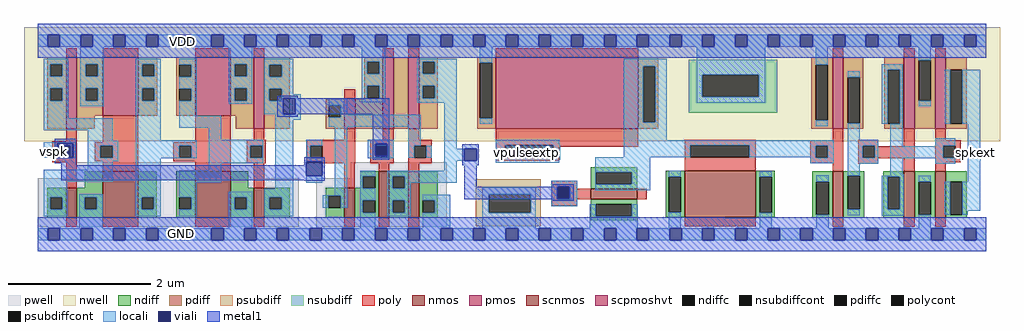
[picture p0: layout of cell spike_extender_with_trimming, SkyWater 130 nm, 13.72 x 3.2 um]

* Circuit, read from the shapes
.subckt spike_extender_with_trimming vpulseextp spkext GND VDD vspk
XM1 GND vspk n1 GND sky130_fd_pr__nfet_01v8 w=0.42 l=0.15
XM2 n2 n1 GND GND sky130_fd_pr__nfet_01v8 w=0.65 l=0.5
XM3 GND n2 n3 GND sky130_fd_pr__nfet_01v8 w=0.65 l=0.5
XM4 sky130_fd_sc_hd__nor2b_1_0/A n3 GND GND sky130_fd_pr__nfet_01v8 w=0.42 l=0.15
XM5 GND vspk n4 GND sky130_fd_pr__nfet_01v8 w=0.42 l=0.15
XM6 sky130_fd_sc_hd__nor2b_1_0/Y sky130_fd_sc_hd__nor2b_1_0/A GND GND sky130_fd_pr__nfet_01v8 w=0.65 l=0.15
XM7 GND n4 sky130_fd_sc_hd__nor2b_1_0/Y GND sky130_fd_pr__nfet_01v8 w=0.65 l=0.15
XM8 n5 sky130_fd_sc_hd__nor2b_1_0/Y GND GND sky130_fd_pr__nfet_01v8 w=0.65 l=0.15
XM9 GND n5 GND GND sky130_fd_pr__nfet_01v8 w=0.65 l=1
XM10 n6 n5 GND GND sky130_fd_pr__nfet_01v8 w=0.65 l=0.15
XM11 GND n6 n7 GND sky130_fd_pr__nfet_01v8 w=0.65 l=0.15
XM12 spkext n7 GND GND sky130_fd_pr__nfet_01v8 w=0.65 l=0.15
XM13 VDD vspk n1 VDD sky130_fd_pr__pfet_01v8_hvt w=1 l=0.15
XM14 n2 n1 VDD VDD sky130_fd_pr__pfet_01v8_hvt w=0.82 l=0.5
XM15 VDD n2 n3 VDD sky130_fd_pr__pfet_01v8_hvt w=0.82 l=0.5
XM16 sky130_fd_sc_hd__nor2b_1_0/A n3 VDD VDD sky130_fd_pr__pfet_01v8_hvt w=1 l=0.15
XM17 VDD vspk n4 VDD sky130_fd_pr__pfet_01v8_hvt w=0.42 l=0.15
XM18 n8 sky130_fd_sc_hd__nor2b_1_0/A VDD VDD sky130_fd_pr__pfet_01v8_hvt w=1 l=0.15
XM19 sky130_fd_sc_hd__nor2b_1_0/Y n4 n8 VDD sky130_fd_pr__pfet_01v8_hvt w=1 l=0.15
XM20 n5 vpulseextp VDD VDD sky130_fd_pr__pfet_01v8 w=1 l=2
XM21 n6 n5 VDD VDD sky130_fd_pr__pfet_01v8 w=1 l=0.15
XM22 VDD n6 n7 VDD sky130_fd_pr__pfet_01v8 w=1 l=0.15
XM23 spkext n7 VDD VDD sky130_fd_pr__pfet_01v8 w=1 l=0.15
.ends

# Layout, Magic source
magic
tech sky130A
magscale 1 2
<< locali >>
rect -454 431 -418 442
rect -479 385 -467 431
rect -433 385 -418 431
rect -454 370 -418 385
rect -1133 263 -1103 304
rect -10 254 42 289
rect 144 258 312 300
rect 1460 256 1494 290
rect -402 205 -357 213
<< viali >>
rect -467 385 -433 431
rect -1103 263 -1058 304
rect -209 269 -175 303
rect 42 254 77 289
rect -402 213 -357 252
rect 303 148 337 182
<< metal1 >>
rect -770 556 -720 628
rect -458 437 -426 438
rect -483 436 -426 437
rect -484 431 -426 436
rect -484 385 -467 431
rect -433 385 -169 431
rect -484 378 -426 385
rect -1109 313 -1052 316
rect -1109 304 -1049 313
rect -1109 263 -1103 304
rect -1058 263 -1049 304
rect -215 303 -169 385
rect -215 269 -209 303
rect -175 269 -169 303
rect -1109 247 -1049 263
rect -1091 242 -1049 247
rect -408 252 -351 264
rect -215 257 -169 269
rect 36 289 83 301
rect -408 242 -402 252
rect -1091 213 -402 242
rect -357 213 -351 252
rect 36 254 42 289
rect 77 254 83 289
rect 36 242 83 254
rect -1091 200 -351 213
rect -408 199 -351 200
rect 42 182 77 242
rect 291 182 349 188
rect 42 148 303 182
rect 337 148 349 182
rect 42 147 349 148
rect 291 142 349 147
rect -770 14 -720 86
use sky130_fd_sc_hd__clkdlybuf4s50_1  sky130_fd_sc_hd__clkdlybuf4s50_1_0 $PDKPATH/libs.ref/sky130_fd_sc_hd/mag
transform 1 0 -1158 0 1 48
box -38 -48 774 592
use sky130_fd_sc_hd__nor2b_1  sky130_fd_sc_hd__nor2b_1_0 $PDKPATH/libs.ref/sky130_fd_sc_hd/mag
transform 1 0 -422 0 1 48
box -38 -48 498 592
use spike_extender  spike_extender_0
transform 1 0 38 0 1 48
box -38 -48 1510 592
<< labels >>
flabel locali 218 278 218 278 1 FreeSans 320 0 0 0 vpulseextp
port 2 n
flabel locali 1478 278 1478 278 1 FreeSans 320 0 0 0 spkext
port 3 n
flabel metal1 -752 50 -752 52 1 FreeSans 320 0 0 0 GND
port 4 n
flabel metal1 -750 590 -750 592 1 FreeSans 320 0 0 0 VDD
port 5 n
flabel locali -1112 280 -1112 280 1 FreeSans 320 0 0 0 vspk
port 6 n
<< end >>

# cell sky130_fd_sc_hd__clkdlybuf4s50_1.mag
magic
tech sky130A
magscale 1 2
<< nwell >>
rect -38 261 774 582
<< pwell >>
rect 107 157 619 203
rect 1 21 735 157
rect 30 -17 64 21
<< scnmos >>
rect 81 47 111 131
rect 183 47 283 177
rect 443 47 543 177
rect 608 47 638 131
<< scpmoshvt >>
rect 81 297 111 497
rect 183 333 283 497
rect 443 333 543 497
rect 608 297 638 497
<< ndiff >>
rect 133 131 183 177
rect 27 104 81 131
rect 27 70 36 104
rect 70 70 81 104
rect 27 47 81 70
rect 111 104 183 131
rect 111 70 133 104
rect 167 70 183 104
rect 111 47 183 70
rect 283 104 335 177
rect 283 70 293 104
rect 327 70 335 104
rect 283 47 335 70
rect 390 104 443 177
rect 390 70 398 104
rect 432 70 443 104
rect 390 47 443 70
rect 543 131 593 177
rect 543 104 608 131
rect 543 70 554 104
rect 588 70 608 104
rect 543 47 608 70
rect 638 104 709 131
rect 638 70 652 104
rect 686 70 709 104
rect 638 47 709 70
<< pdiff >>
rect 27 478 81 497
rect 27 444 36 478
rect 70 444 81 478
rect 27 410 81 444
rect 27 376 36 410
rect 70 376 81 410
rect 27 297 81 376
rect 111 478 183 497
rect 111 444 136 478
rect 170 444 183 478
rect 111 410 183 444
rect 111 376 136 410
rect 170 376 183 410
rect 111 333 183 376
rect 283 478 336 497
rect 283 444 294 478
rect 328 444 336 478
rect 283 410 336 444
rect 283 376 294 410
rect 328 376 336 410
rect 283 333 336 376
rect 390 477 443 497
rect 390 443 398 477
rect 432 443 443 477
rect 390 409 443 443
rect 390 375 398 409
rect 432 375 443 409
rect 390 333 443 375
rect 543 478 608 497
rect 543 444 554 478
rect 588 444 608 478
rect 543 410 608 444
rect 543 376 554 410
rect 588 376 608 410
rect 543 333 608 376
rect 111 297 161 333
rect 558 297 608 333
rect 638 477 709 497
rect 638 443 652 477
rect 686 443 709 477
rect 638 409 709 443
rect 638 375 652 409
rect 686 375 709 409
rect 638 297 709 375
<< ndiffc >>
rect 36 70 70 104
rect 133 70 167 104
rect 293 70 327 104
rect 398 70 432 104
rect 554 70 588 104
rect 652 70 686 104
<< pdiffc >>
rect 36 444 70 478
rect 36 376 70 410
rect 136 444 170 478
rect 136 376 170 410
rect 294 444 328 478
rect 294 376 328 410
rect 398 443 432 477
rect 398 375 432 409
rect 554 444 588 478
rect 554 376 588 410
rect 652 443 686 477
rect 652 375 686 409
<< poly >>
rect 81 497 111 523
rect 183 497 283 523
rect 443 497 543 523
rect 608 497 638 523
rect 81 262 111 297
rect 41 249 111 262
rect 183 259 283 333
rect 443 259 543 333
rect 608 265 638 297
rect 41 215 57 249
rect 91 215 111 249
rect 41 203 111 215
rect 161 249 283 259
rect 161 215 177 249
rect 211 215 283 249
rect 161 205 283 215
rect 382 249 543 259
rect 382 215 398 249
rect 432 215 543 249
rect 382 205 543 215
rect 81 131 111 203
rect 183 177 283 205
rect 443 177 543 205
rect 588 249 642 265
rect 588 215 598 249
rect 632 215 642 249
rect 588 199 642 215
rect 608 131 638 199
rect 81 21 111 47
rect 183 21 283 47
rect 443 21 543 47
rect 608 21 638 47
<< polycont >>
rect 57 215 91 249
rect 177 215 211 249
rect 398 215 432 249
rect 598 215 632 249
<< locali >>
rect 0 527 29 561
rect 63 527 121 561
rect 155 527 213 561
rect 247 527 305 561
rect 339 527 397 561
rect 431 527 489 561
rect 523 527 581 561
rect 615 527 673 561
rect 707 527 736 561
rect 17 478 86 493
rect 17 444 36 478
rect 70 444 86 478
rect 17 410 86 444
rect 17 376 36 410
rect 70 376 86 410
rect 17 326 86 376
rect 120 478 186 527
rect 120 444 136 478
rect 170 444 186 478
rect 120 410 186 444
rect 120 376 136 410
rect 170 376 186 410
rect 120 360 186 376
rect 276 478 346 493
rect 276 444 294 478
rect 328 444 346 478
rect 276 410 346 444
rect 276 376 294 410
rect 328 376 346 410
rect 17 292 211 326
rect 141 263 211 292
rect 276 264 346 376
rect 398 477 448 493
rect 432 443 448 477
rect 398 409 448 443
rect 432 375 448 409
rect 398 333 448 375
rect 538 478 604 527
rect 538 444 554 478
rect 588 444 604 478
rect 538 410 604 444
rect 538 376 554 410
rect 588 376 604 410
rect 538 367 604 376
rect 638 477 719 493
rect 638 443 652 477
rect 686 443 719 477
rect 638 409 719 443
rect 638 375 652 409
rect 686 375 719 409
rect 638 338 719 375
rect 398 299 516 333
rect 482 265 516 299
rect 17 249 107 258
rect 17 215 57 249
rect 91 215 107 249
rect 141 249 227 263
rect 141 215 177 249
rect 211 215 227 249
rect 141 205 227 215
rect 276 249 448 264
rect 276 215 398 249
rect 432 215 448 249
rect 276 214 448 215
rect 482 249 635 265
rect 482 215 598 249
rect 632 215 635 249
rect 141 181 211 205
rect 17 147 211 181
rect 17 104 83 147
rect 17 70 36 104
rect 70 70 83 104
rect 17 51 83 70
rect 117 104 183 113
rect 117 70 133 104
rect 167 70 183 104
rect 117 17 183 70
rect 276 104 346 214
rect 482 199 635 215
rect 482 180 516 199
rect 276 70 293 104
rect 327 70 346 104
rect 276 51 346 70
rect 398 146 516 180
rect 398 104 448 146
rect 669 128 719 338
rect 432 70 448 104
rect 398 51 448 70
rect 538 104 604 120
rect 538 70 554 104
rect 588 70 604 104
rect 538 17 604 70
rect 638 104 719 128
rect 638 70 652 104
rect 686 70 719 104
rect 638 51 719 70
rect 0 -17 29 17
rect 63 -17 121 17
rect 155 -17 213 17
rect 247 -17 305 17
rect 339 -17 397 17
rect 431 -17 489 17
rect 523 -17 581 17
rect 615 -17 673 17
rect 707 -17 736 17
<< viali >>
rect 29 527 63 561
rect 121 527 155 561
rect 213 527 247 561
rect 305 527 339 561
rect 397 527 431 561
rect 489 527 523 561
rect 581 527 615 561
rect 673 527 707 561
rect 29 -17 63 17
rect 121 -17 155 17
rect 213 -17 247 17
rect 305 -17 339 17
rect 397 -17 431 17
rect 489 -17 523 17
rect 581 -17 615 17
rect 673 -17 707 17
<< metal1 >>
rect 0 561 736 592
rect 0 527 29 561
rect 63 527 121 561
rect 155 527 213 561
rect 247 527 305 561
rect 339 527 397 561
rect 431 527 489 561
rect 523 527 581 561
rect 615 527 673 561
rect 707 527 736 561
rect 0 496 736 527
rect 0 17 736 48
rect 0 -17 29 17
rect 63 -17 121 17
rect 155 -17 213 17
rect 247 -17 305 17
rect 339 -17 397 17
rect 431 -17 489 17
rect 523 -17 581 17
rect 615 -17 673 17
rect 707 -17 736 17
rect 0 -48 736 -17
<< labels >>
flabel locali s 30 221 64 255 0 FreeSans 400 0 0 0 A
port 6 nsew
flabel locali s 676 425 710 459 0 FreeSans 400 0 0 0 X
port 7 nsew
flabel locali s 676 357 710 391 0 FreeSans 400 0 0 0 X
port 7 nsew
flabel locali s 676 289 710 323 0 FreeSans 400 0 0 0 X
port 7 nsew
flabel locali s 676 221 710 255 0 FreeSans 400 0 0 0 X
port 7 nsew
flabel locali s 676 153 710 187 0 FreeSans 400 0 0 0 X
port 7 nsew
flabel locali s 676 85 710 119 0 FreeSans 400 0 0 0 X
port 7 nsew
flabel pwell s 30 -17 64 17 0 FreeSans 200 0 0 0 VNB
port 2 nsew
flabel nwell s 30 527 64 561 0 FreeSans 200 0 0 0 VPB
port 3 nsew
flabel metal1 s 30 -17 64 17 0 FreeSans 200 0 0 0 VGND
port 4 nsew
flabel metal1 s 30 527 64 561 0 FreeSans 200 0 0 0 VPWR
port 5 nsew
rlabel comment s 0 0 0 0 4 clkdlybuf4s50_1
<< properties >>
string FIXED_BBOX 0 0 736 544
string path 0.000 0.000 3.680 0.000 
<< end >>

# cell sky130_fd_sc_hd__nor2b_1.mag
magic
tech sky130A
magscale 1 2
<< nwell >>
rect -38 261 498 582
<< pwell >>
rect 145 157 415 203
rect 48 21 415 157
rect 48 17 63 21
rect 29 -17 63 17
<< scnmos >>
rect 126 47 156 131
rect 223 47 253 177
rect 307 47 337 177
<< scpmoshvt >>
rect 127 297 157 381
rect 235 297 265 497
rect 307 297 337 497
<< ndiff >>
rect 171 163 223 177
rect 171 131 179 163
rect 74 108 126 131
rect 74 74 82 108
rect 116 74 126 108
rect 74 47 126 74
rect 156 129 179 131
rect 213 129 223 163
rect 156 95 223 129
rect 156 61 179 95
rect 213 61 223 95
rect 156 47 223 61
rect 253 163 307 177
rect 253 129 263 163
rect 297 129 307 163
rect 253 95 307 129
rect 253 61 263 95
rect 297 61 307 95
rect 253 47 307 61
rect 337 95 389 177
rect 337 61 347 95
rect 381 61 389 95
rect 337 47 389 61
<< pdiff >>
rect 183 485 235 497
rect 183 451 191 485
rect 225 451 235 485
rect 183 417 235 451
rect 183 383 191 417
rect 225 383 235 417
rect 183 381 235 383
rect 75 363 127 381
rect 75 329 83 363
rect 117 329 127 363
rect 75 297 127 329
rect 157 297 235 381
rect 265 297 307 497
rect 337 485 389 497
rect 337 451 347 485
rect 381 451 389 485
rect 337 417 389 451
rect 337 383 347 417
rect 381 383 389 417
rect 337 297 389 383
<< ndiffc >>
rect 82 74 116 108
rect 179 129 213 163
rect 179 61 213 95
rect 263 129 297 163
rect 263 61 297 95
rect 347 61 381 95
<< pdiffc >>
rect 191 451 225 485
rect 191 383 225 417
rect 83 329 117 363
rect 347 451 381 485
rect 347 383 381 417
<< poly >>
rect 235 497 265 523
rect 307 497 337 523
rect 127 381 157 407
rect 127 265 157 297
rect 235 265 265 297
rect 21 249 157 265
rect 21 215 31 249
rect 65 215 157 249
rect 21 199 157 215
rect 199 249 265 265
rect 199 215 215 249
rect 249 215 265 249
rect 199 199 265 215
rect 307 265 337 297
rect 307 249 373 265
rect 307 215 323 249
rect 357 215 373 249
rect 307 199 373 215
rect 126 131 156 199
rect 223 177 253 199
rect 307 177 337 199
rect 126 21 156 47
rect 223 21 253 47
rect 307 21 337 47
<< polycont >>
rect 31 215 65 249
rect 215 215 249 249
rect 323 215 357 249
<< locali >>
rect 0 527 29 561
rect 63 527 121 561
rect 155 527 213 561
rect 247 527 305 561
rect 339 527 397 561
rect 431 527 460 561
rect 175 485 241 527
rect 175 451 191 485
rect 225 451 241 485
rect 175 417 241 451
rect 175 383 191 417
rect 225 383 241 417
rect 83 363 135 381
rect 175 371 241 383
rect 331 485 443 493
rect 331 451 347 485
rect 381 451 443 485
rect 331 417 443 451
rect 331 383 347 417
rect 381 383 443 417
rect 331 370 443 383
rect 117 336 135 363
rect 117 329 341 336
rect 83 302 341 329
rect 20 249 65 265
rect 20 215 31 249
rect 20 145 65 215
rect 99 109 135 302
rect 192 249 265 265
rect 192 215 215 249
rect 249 215 265 249
rect 307 249 341 302
rect 307 215 323 249
rect 357 215 373 249
rect 192 213 265 215
rect 407 179 443 370
rect 66 108 135 109
rect 66 74 82 108
rect 116 74 135 108
rect 171 163 213 179
rect 171 129 179 163
rect 171 95 213 129
rect 171 61 179 95
rect 171 17 213 61
rect 247 163 443 179
rect 247 129 263 163
rect 297 145 443 163
rect 297 129 313 145
rect 247 95 313 129
rect 247 61 263 95
rect 297 61 313 95
rect 247 51 313 61
rect 347 95 424 111
rect 381 61 424 95
rect 347 17 424 61
rect 0 -17 29 17
rect 63 -17 121 17
rect 155 -17 213 17
rect 247 -17 305 17
rect 339 -17 397 17
rect 431 -17 460 17
<< viali >>
rect 29 527 63 561
rect 121 527 155 561
rect 213 527 247 561
rect 305 527 339 561
rect 397 527 431 561
rect 29 -17 63 17
rect 121 -17 155 17
rect 213 -17 247 17
rect 305 -17 339 17
rect 397 -17 431 17
<< metal1 >>
rect 0 561 460 592
rect 0 527 29 561
rect 63 527 121 561
rect 155 527 213 561
rect 247 527 305 561
rect 339 527 397 561
rect 431 527 460 561
rect 0 496 460 527
rect 0 17 460 48
rect 0 -17 29 17
rect 63 -17 121 17
rect 155 -17 213 17
rect 247 -17 305 17
rect 339 -17 397 17
rect 431 -17 460 17
rect 0 -48 460 -17
<< labels >>
flabel locali s 29 221 63 255 0 FreeSans 400 180 0 0 B_N
port 6 nsew
flabel locali s 397 425 431 459 0 FreeSans 400 180 0 0 Y
port 8 nsew
flabel locali s 213 221 247 255 0 FreeSans 400 180 0 0 A
port 7 nsew
flabel nwell s 29 527 63 561 0 FreeSans 200 0 0 0 VPB
port 2 nsew
flabel pwell s 29 -17 63 17 0 FreeSans 200 0 0 0 VNB
port 3 nsew
flabel metal1 s 29 -17 63 17 0 FreeSans 200 0 0 0 VGND
port 4 nsew
flabel metal1 s 29 527 63 561 0 FreeSans 200 0 0 0 VPWR
port 5 nsew
rlabel comment s 0 0 0 0 4 nor2b_1
<< properties >>
string FIXED_BBOX 0 0 460 544
string path 0.000 0.000 2.300 0.000 
<< end >>

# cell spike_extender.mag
magic
tech sky130A
magscale 1 2
<< nwell >>
rect -38 261 1510 582
<< nmos >>
rect 360 98 490 128
rect 623 48 823 178
rect 1040 47 1070 177
rect 1240 47 1270 177
rect 1328 47 1358 177
<< pmos >>
rect 93 297 493 497
rect 1040 297 1070 497
rect 1240 297 1270 497
rect 1328 297 1358 497
<< ndiff >>
rect 360 174 490 188
rect 360 140 373 174
rect 475 140 490 174
rect 360 128 490 140
rect 570 162 623 178
rect 360 84 490 98
rect 360 50 373 84
rect 475 50 490 84
rect 360 40 490 50
rect 570 62 578 162
rect 612 62 623 162
rect 570 48 623 62
rect 823 161 877 178
rect 823 61 834 161
rect 868 61 877 161
rect 823 48 877 61
rect 982 148 1040 177
rect 982 55 994 148
rect 1028 55 1040 148
rect 982 47 1040 55
rect 1070 164 1128 177
rect 1070 70 1082 164
rect 1116 70 1128 164
rect 1070 47 1128 70
rect 1182 162 1240 177
rect 1182 70 1194 162
rect 1228 70 1240 162
rect 1182 47 1240 70
rect 1270 148 1328 177
rect 1270 55 1282 148
rect 1316 55 1328 148
rect 1270 47 1328 55
rect 1358 148 1416 177
rect 1358 55 1370 148
rect 1404 55 1416 148
rect 1358 47 1416 55
<< pdiff >>
rect 40 482 93 497
rect 40 326 48 482
rect 82 326 93 482
rect 40 297 93 326
rect 493 473 549 497
rect 493 315 507 473
rect 541 315 549 473
rect 980 476 1040 497
rect 493 297 549 315
rect 980 320 992 476
rect 1026 320 1040 476
rect 980 297 1040 320
rect 1070 442 1126 497
rect 1070 312 1082 442
rect 1116 312 1126 442
rect 1070 297 1126 312
rect 1184 462 1240 497
rect 1184 310 1194 462
rect 1228 310 1240 462
rect 1184 297 1240 310
rect 1270 489 1328 497
rect 1270 376 1282 489
rect 1316 376 1328 489
rect 1270 297 1328 376
rect 1358 462 1416 497
rect 1358 310 1370 462
rect 1404 310 1416 462
rect 1358 297 1416 310
<< ndiffc >>
rect 373 140 475 174
rect 373 50 475 84
rect 578 62 612 162
rect 834 61 868 161
rect 994 55 1028 148
rect 1082 70 1116 164
rect 1194 70 1228 162
rect 1282 55 1316 148
rect 1370 55 1404 148
<< pdiffc >>
rect 48 326 82 482
rect 507 315 541 473
rect 992 320 1026 476
rect 1082 312 1116 442
rect 1194 310 1228 462
rect 1282 376 1316 489
rect 1370 310 1404 462
<< psubdiff >>
rect 36 113 219 154
rect 36 60 72 113
rect 191 60 219 113
rect 36 23 219 60
<< nsubdiff >>
rect 635 449 884 491
rect 635 386 673 449
rect 832 386 884 449
rect 635 342 884 386
<< psubdiffcont >>
rect 72 60 191 113
<< nsubdiffcont >>
rect 673 386 832 449
<< poly >>
rect 93 497 493 523
rect 1040 497 1070 523
rect 1240 497 1270 523
rect 1328 497 1358 523
rect 93 250 493 297
rect 93 216 119 250
rect 254 246 493 250
rect 623 250 823 265
rect 1040 264 1070 297
rect 254 216 271 246
rect 93 206 271 216
rect 623 216 639 250
rect 805 216 823 250
rect 623 178 823 216
rect 976 249 1070 264
rect 976 215 992 249
rect 1026 215 1070 249
rect 976 200 1070 215
rect 250 131 321 150
rect 250 97 267 131
rect 301 128 321 131
rect 301 98 360 128
rect 490 98 517 128
rect 301 97 321 98
rect 250 80 321 97
rect 1040 177 1070 200
rect 1112 249 1168 265
rect 1112 215 1124 249
rect 1158 248 1168 249
rect 1240 248 1270 297
rect 1158 215 1270 248
rect 1112 214 1270 215
rect 1112 198 1168 214
rect 1240 177 1270 214
rect 1328 264 1358 297
rect 1328 249 1400 264
rect 1328 215 1350 249
rect 1384 215 1400 249
rect 1328 202 1400 215
rect 1328 177 1358 202
rect 623 22 823 48
rect 1040 21 1070 47
rect 1240 21 1270 47
rect 1328 21 1358 47
<< polycont >>
rect 119 216 254 250
rect 639 216 805 250
rect 992 215 1026 249
rect 267 97 301 131
rect 1124 215 1158 249
rect 1350 215 1384 249
<< locali >>
rect 0 527 29 561
rect 63 527 121 561
rect 155 527 213 561
rect 247 527 305 561
rect 339 527 397 561
rect 431 527 489 561
rect 523 527 581 561
rect 615 527 673 561
rect 707 527 765 561
rect 799 527 857 561
rect 891 527 949 561
rect 983 527 1041 561
rect 1075 527 1133 561
rect 1167 527 1225 561
rect 1259 527 1317 561
rect 1351 527 1409 561
rect 1443 527 1472 561
rect 48 482 83 527
rect 82 326 83 482
rect 48 310 83 326
rect 452 473 573 493
rect 452 315 507 473
rect 541 315 573 473
rect 657 449 850 527
rect 657 386 673 449
rect 832 386 850 449
rect 657 369 850 386
rect 992 476 1026 527
rect 1282 489 1316 527
rect 93 250 271 266
rect 93 216 119 250
rect 254 216 271 250
rect 452 264 573 315
rect 1178 462 1236 478
rect 992 304 1026 320
rect 1082 442 1116 458
rect 1082 265 1116 312
rect 1178 310 1194 462
rect 1228 310 1236 462
rect 1282 360 1316 376
rect 1354 310 1370 462
rect 1404 310 1454 462
rect 452 250 1042 264
rect 452 217 639 250
rect 93 201 271 216
rect 372 216 639 217
rect 805 249 1042 250
rect 805 216 992 249
rect 372 174 526 216
rect 976 215 992 216
rect 1026 215 1042 249
rect 976 200 1042 215
rect 1082 249 1168 265
rect 1082 215 1124 249
rect 1158 215 1168 249
rect 1082 198 1168 215
rect 1202 248 1236 310
rect 1328 249 1384 270
rect 1328 248 1350 249
rect 1202 215 1350 248
rect 1202 214 1384 215
rect 54 113 205 132
rect 54 60 72 113
rect 191 60 205 113
rect 249 131 321 150
rect 249 97 267 131
rect 301 97 321 131
rect 372 140 373 174
rect 475 140 526 174
rect 372 124 526 140
rect 578 162 612 178
rect 249 79 321 97
rect 54 17 205 60
rect 357 50 373 84
rect 475 50 491 84
rect 357 17 491 50
rect 578 17 612 62
rect 834 161 868 177
rect 834 17 868 61
rect 994 148 1028 166
rect 994 17 1028 55
rect 1082 164 1116 198
rect 1202 168 1236 214
rect 1328 198 1384 214
rect 1202 164 1240 168
rect 1082 54 1116 70
rect 1178 162 1240 164
rect 1178 70 1194 162
rect 1228 70 1240 162
rect 1178 52 1240 70
rect 1282 148 1316 164
rect 1420 148 1454 310
rect 1354 55 1370 148
rect 1404 66 1454 148
rect 1404 55 1420 66
rect 1282 17 1316 55
rect 0 -17 29 17
rect 63 -17 121 17
rect 155 -17 213 17
rect 247 -17 305 17
rect 339 -17 397 17
rect 431 -17 489 17
rect 523 -17 581 17
rect 615 -17 673 17
rect 707 -17 765 17
rect 799 -17 857 17
rect 891 -17 949 17
rect 983 -17 1041 17
rect 1075 -17 1133 17
rect 1167 -17 1225 17
rect 1259 -17 1317 17
rect 1351 -17 1409 17
rect 1443 -17 1472 17
<< viali >>
rect 29 527 63 561
rect 121 527 155 561
rect 213 527 247 561
rect 305 527 339 561
rect 397 527 431 561
rect 489 527 523 561
rect 581 527 615 561
rect 673 527 707 561
rect 765 527 799 561
rect 857 527 891 561
rect 949 527 983 561
rect 1041 527 1075 561
rect 1133 527 1167 561
rect 1225 527 1259 561
rect 1317 527 1351 561
rect 1409 527 1443 561
rect 29 -17 63 17
rect 121 -17 155 17
rect 213 -17 247 17
rect 305 -17 339 17
rect 397 -17 431 17
rect 489 -17 523 17
rect 581 -17 615 17
rect 673 -17 707 17
rect 765 -17 799 17
rect 857 -17 891 17
rect 949 -17 983 17
rect 1041 -17 1075 17
rect 1133 -17 1167 17
rect 1225 -17 1259 17
rect 1317 -17 1351 17
rect 1409 -17 1443 17
<< metal1 >>
rect 0 561 1472 592
rect 0 527 29 561
rect 63 527 121 561
rect 155 527 213 561
rect 247 527 305 561
rect 339 527 397 561
rect 431 527 489 561
rect 523 527 581 561
rect 615 527 673 561
rect 707 527 765 561
rect 799 527 857 561
rect 891 527 949 561
rect 983 527 1041 561
rect 1075 527 1133 561
rect 1167 527 1225 561
rect 1259 527 1317 561
rect 1351 527 1409 561
rect 1443 527 1472 561
rect 0 496 1472 527
rect 0 47 736 48
rect 826 47 1472 48
rect 0 17 1472 47
rect 0 -17 29 17
rect 63 -17 121 17
rect 155 -17 213 17
rect 247 -17 305 17
rect 339 -17 397 17
rect 431 -17 489 17
rect 523 -17 581 17
rect 615 -17 673 17
rect 707 -17 765 17
rect 799 -17 857 17
rect 891 -17 949 17
rect 983 -17 1041 17
rect 1075 -17 1133 17
rect 1167 -17 1225 17
rect 1259 -17 1317 17
rect 1351 -17 1409 17
rect 1443 -17 1472 17
rect 0 -48 1472 -17
<< labels >>
flabel locali 282 112 284 114 1 FreeSans 320 0 0 0 spk
port 1 n
flabel locali 1436 234 1438 236 1 FreeSans 320 0 0 0 spkext
port 3 n
flabel metal1 82 -6 84 -4 1 FreeSans 320 0 0 0 GND
port 4 n
flabel metal1 90 542 92 544 1 FreeSans 320 0 0 0 VDD
port 5 n
flabel locali 182 232 184 234 1 FreeSans 320 0 0 0 vpulseextp
port 2 n
<< properties >>
string MASKHINTS_NSDM 0 -38 1485 203
string MASKHINTS_PSDM 0 272 200 582 1285 272 1485 582
<< end >>
